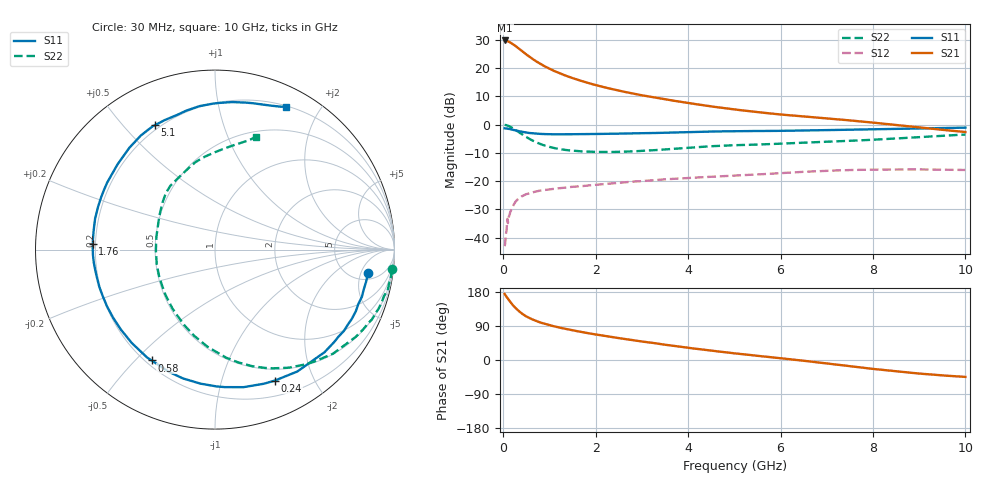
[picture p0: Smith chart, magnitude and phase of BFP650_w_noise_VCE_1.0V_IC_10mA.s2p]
! Infineon Technologies  Discrete & RF Semiconductors
! BFP650
! VCE =  1.0 V,  IC =  10 mA
! Common Emitter S-Parameters:  Jan 2016
# GHz  S  MA  R  50
!  f  S11  S21  S12  S22
! GHz  MAG  ANG  MAG  ANG  MAG  ANG  MAG  ANG
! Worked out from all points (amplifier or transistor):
!   229 points, 30 MHz to 10 GHz, reference 50 ohm
!   highest |S21| = 29.8 dB at 40 MHz (marker M1)
!   |S21| within 3 dB of that: start of sweep to 346.3 MHz
!   unconditionally stable (mu >= 1): 3.522 GHz to end of sweep
!   at 280 MHz: K = 0.13, MSG = 27.3 dB, |S12| = -27.0 dB
!   at 1.78 GHz: K = 0.71, MSG = 18.3 dB, |S12| = -21.6 dB
!   at 10 GHz: K = 1.07, MAG = 5.1 dB, |S12| = -16.0 dB
!   lowest NFmin = 0.58 dB at 450 MHz
!   S11 on the Smith chart (normalised r, x): 30 MHz: 6.61, -6.74; 240 MHz: 0.37, -1.50; 580 MHz: 0.22, -0.56; 1.76 GHz: 0.19, +0.02; 5.1 GHz: 0.18, +0.61; 10 GHz: 0.21, +1.60
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0.03  0.8626 -8.7  30.73 174.2  0.0071 91.9  0.9935 -6.4
0.04  0.8607 -12.0  30.91 172.3  0.0077 84.1  0.9915 -8.8
0.1  0.8502 -29.3  30.05 161.9  0.0181 72.2  0.9629 -21.4
0.14  0.8376 -40.6  28.9 155.3  0.0264 72.1  0.9306 -29.9
0.2  0.8195 -56.0  26.99 146.0  0.0348 63.2  0.8769 -41.4
0.24  0.8023 -65.4  25.59 140.6  0.0403 59.1  0.834 -48.4
0.3  0.7827 -78.3  23.48 133.2  0.0467 53.7  0.7738 -58.3
0.4  0.7512 -96.2  20.2 122.9  0.0539 45.4  0.6818 -72.3
0.5  0.7279 -110.6  17.45 114.9  0.059 39.8  0.6055 -84.1
0.58  0.7114 -119.8  15.64 110.0  0.0619 36.8  0.5537 -92.2
0.7  0.697 -131.7  13.4 103.4  0.0655 33.0  0.4945 -103.5
0.8  0.6881 -139.6  11.95 99.0  0.0684 30.9  0.4564 -111.6
1  0.6797 -152.3  9.767 91.9  0.0714 28.0  0.4052 -125.7
1.3  0.6764 -166.4  7.638 83.3  0.0763 24.8  0.362 -143.0
1.7  0.6812 179.3  5.909 73.8  0.0818 23.0  0.3373 -161.5
1.76  0.6816 177.4  5.714 72.5  0.0828 22.7  0.3355 -164.0
2.4  0.6933 160.8  4.174 59.6  0.092 19.7  0.3297 174.1
3.4  0.7173 140.5  2.906 42.2  0.1066 14.4  0.3604 149.4
5.1  0.7699 115.8  1.821 16.4  0.1271 4.6  0.4357 123.8
6.8  0.7979 98.3  1.335 -6.2  0.1504 -7.4  0.4921 104.2
8.4  0.8369 78.1  1.008 -28.6  0.1613 -21.9  0.5643 85.0
10  0.8882 63.5  0.742 -44.6  0.1582 -32.6  0.6686 70.0
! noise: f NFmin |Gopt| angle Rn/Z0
0.45  0.58  0.09  70  0.61
0.9  0.59  0.12  117  0.4
1.9  0.8  0.26  160  0.06
2.4  0.9  0.27  172  0.06
3.5  1.22  0.31  -137  0.22
